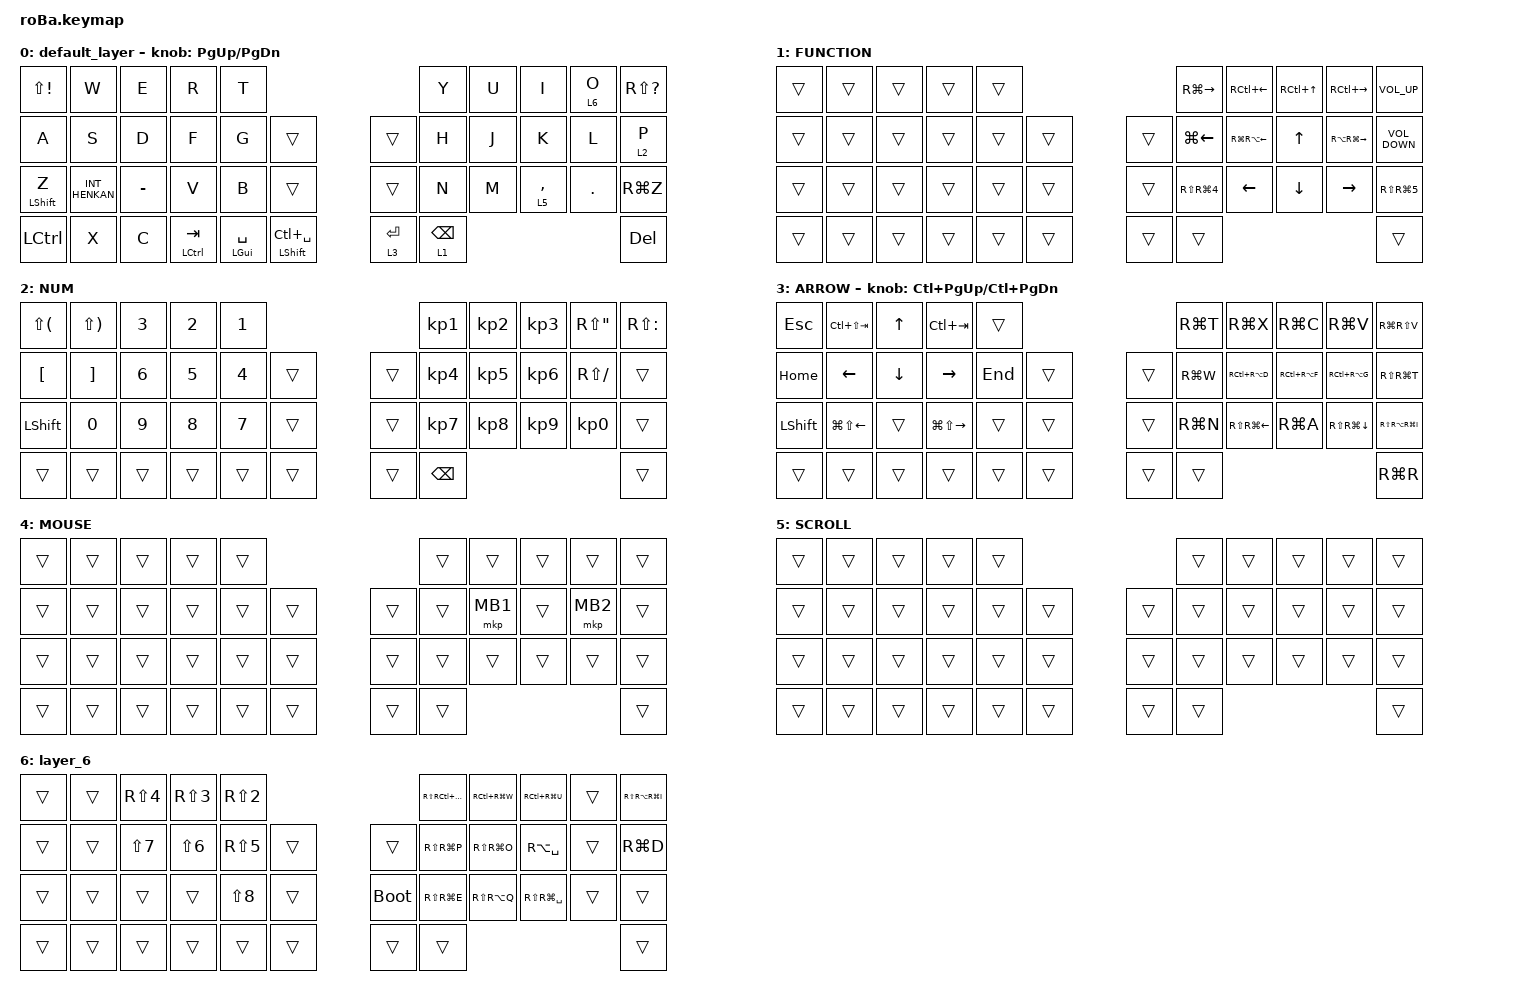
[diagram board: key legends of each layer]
#include <behaviors.dtsi>
#include <dt-bindings/zmk/keys.h>
#include <dt-bindings/zmk/pointing.h>

#define MOUSE 4
#define SCROLL 5
#define NUM 6

&mt {
    flavor = "balanced";
    quick-tap-ms = <0>;
};

/ {
    combos {
        compatible = "zmk,combos";

        tab {
            bindings = <&kp TAB>;
            key-positions = <11 12>;
        };

        shift_tab {
            bindings = <&kp LS(TAB)>;
            key-positions = <12 13>;
        };

        muhennkann {
            bindings = <&to_layer_0 INT_MUHENKAN>;
            key-positions = <11 10>;
        };

        double_quotation {
            bindings = <&kp DOUBLE_QUOTES>;
            key-positions = <20 21>;
        };

        eq {
            bindings = <&kp EQUAL>;
            key-positions = <24 25>;
        };
    };

    macros {
        to_layer_0: to_layer_0 {
            compatible = "zmk,behavior-macro-one-param";
            #binding-cells = <1>;
            bindings = <&to 0 &macro_param_1to1 &kp MACRO_PLACEHOLDER>;
            label = "TO_LAYER_0";
        };
    };

    behaviors {
        lt_to_layer_0: lt_to_layer_0 {
            compatible = "zmk,behavior-hold-tap";
            label = "LAYER_TAP_TO_0";
            bindings = <&mo>, <&to_layer_0>;

            #binding-cells = <2>;
            tapping-term-ms = <200>;
        };
    };

    keymap {
        compatible = "zmk,keymap";

        default_layer {
            bindings = <
&kp LS(EXCLAMATION)  &kp W           &kp E      &kp R          &kp T                                                          &kp Y            &kp U  &kp I        &lt 6 O  &kp RS(QUESTION)
&kp A                &kp S           &kp D      &kp F          &kp G               &trans                        &trans       &kp H            &kp J  &kp K        &kp L    &lt 2 P
&mt LEFT_SHIFT Z     &kp INT_HENKAN  &kp MINUS  &kp V          &kp B               &trans                        &trans       &kp N            &kp M  &lt 5 COMMA  &kp DOT  &kp RG(Z)
&kp LCTRL            &kp X           &kp C      &mt LCTRL TAB  &mt LEFT_GUI SPACE  &mt LEFT_SHIFT LC(SPACE)      &lt 3 ENTER  &lt 1 BACKSPACE                               &kp DEL
            >;

            sensor-bindings = <&inc_dec_kp PG_UP PAGE_DOWN>;
        };

        FUNCTION {
            bindings = <
&trans  &trans  &trans  &trans  &trans                      &kp RG(RIGHT)         &kp RC(LEFT)      &kp RC(UP_ARROW)  &kp RC(RIGHT)      &kp C_VOLUME_UP
&trans  &trans  &trans  &trans  &trans  &trans      &trans  &kp LG(LEFT)          &kp RG(RA(LEFT))  &kp UP_ARROW      &kp RA(RG(RIGHT))  &kp C_VOLUME_DOWN
&trans  &trans  &trans  &trans  &trans  &trans      &trans  &kp RS(RG(NUMBER_4))  &kp LEFT          &kp DOWN          &kp RIGHT          &kp RS(RG(N5))
&trans  &trans  &trans  &trans  &trans  &trans      &trans  &trans                                                                       &trans
            >;
        };

        NUM {
            bindings = <
&kp LS(LEFT_PARENTHESIS)  &kp LS(RIGHT_PARENTHESIS)  &kp NUMBER_3  &kp NUMBER_2  &kp NUMBER_1                      &kp KP_NUMBER_1  &kp KP_NUMBER_2  &kp KP_NUMBER_3  &kp RS(DOUBLE_QUOTES)  &kp RS(COLON)
&kp LEFT_BRACKET          &kp RIGHT_BRACKET          &kp NUMBER_6  &kp NUMBER_5  &kp NUMBER_4  &trans      &trans  &kp KP_NUMBER_4  &kp KP_NUMBER_5  &kp KP_NUMBER_6  &kp RS(SLASH)          &trans
&kp LEFT_SHIFT            &kp NUMBER_0               &kp NUMBER_9  &kp NUMBER_8  &kp NUMBER_7  &trans      &trans  &kp KP_NUMBER_7  &kp KP_NUMBER_8  &kp KP_NUMBER_9  &kp KP_NUMBER_0        &trans
&trans                    &trans                     &trans        &trans        &trans        &trans      &trans  &kp BACKSPACE                                                             &trans
            >;
        };

        ARROW {
            bindings = <
&kp ESCAPE      &kp LC(LS(TAB))         &kp UP_ARROW    &kp LC(TAB)              &trans                       &kp RG(T)  &kp RG(X)               &kp RG(C)      &kp RG(V)         &kp RG(RS(V))
&kp HOME        &kp LEFT_ARROW          &kp DOWN_ARROW  &kp RIGHT_ARROW          &kp END  &trans      &trans  &kp RG(W)  &kp RC(RA(D))           &kp RC(RA(F))  &kp RC(RA(G))     &kp RS(RG(T))
&kp LEFT_SHIFT  &kp LG(LS(LEFT_ARROW))  &trans          &kp LG(LS(RIGHT_ARROW))  &trans   &trans      &trans  &kp RG(N)  &kp RS(RG(LEFT_ARROW))  &kp RG(A)      &kp RS(RG(DOWN))  &kp RS(RA(RG(I)))
&trans          &trans                  &trans          &trans                   &trans   &trans      &trans  &trans                                                              &kp RG(R)
            >;

            sensor-bindings = <&inc_dec_kp LC(PAGE_UP) LC(PAGE_DOWN)>;
        };

        MOUSE {
            bindings = <
&trans  &trans  &trans  &trans  &trans                      &trans  &trans    &trans  &trans    &trans
&trans  &trans  &trans  &trans  &trans  &trans      &trans  &trans  &mkp MB1  &trans  &mkp MB2  &trans
&trans  &trans  &trans  &trans  &trans  &trans      &trans  &trans  &trans    &trans  &trans    &trans
&trans  &trans  &trans  &trans  &trans  &trans      &trans  &trans                              &trans
            >;
        };

        SCROLL {
            bindings = <
&trans  &trans  &trans  &trans  &trans                      &trans  &trans  &trans  &trans  &trans
&trans  &trans  &trans  &trans  &trans  &trans      &trans  &trans  &trans  &trans  &trans  &trans
&trans  &trans  &trans  &trans  &trans  &trans      &trans  &trans  &trans  &trans  &trans  &trans
&trans  &trans  &trans  &trans  &trans  &trans      &trans  &trans                          &trans
            >;
        };

        layer_6 {
            bindings = <
&trans  &trans  &kp RS(NUMBER_4)  &kp RS(NUMBER_3)  &kp RS(NUMBER_2)                           &kp RS(RC(RG(Y)))  &kp RC(RG(W))  &kp RC(RG(U))      &trans  &kp RS(RA(RG(I)))
&trans  &trans  &kp LS(NUMBER_7)  &kp LS(NUMBER_6)  &kp RS(N5)        &trans      &trans       &kp RS(RG(P))      &kp RS(RG(O))  &kp RA(SPACE)      &trans  &kp RG(D)
&trans  &trans  &trans            &trans            &kp LS(NUMBER_8)  &trans      &bootloader  &kp RS(RG(E))      &kp RS(RA(Q))  &kp RS(RG(SPACE))  &trans  &trans
&trans  &trans  &trans            &trans            &trans            &trans      &trans       &trans                                                       &trans
            >;
        };
    };
};
